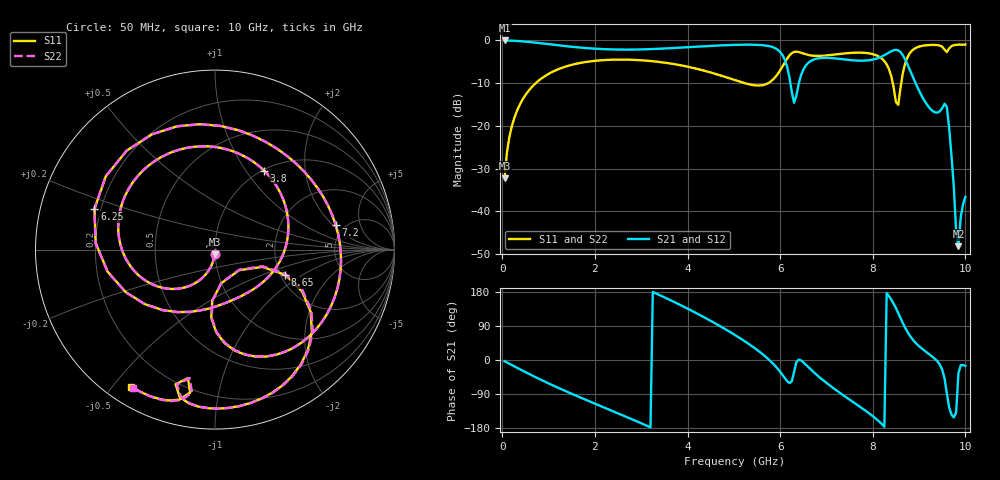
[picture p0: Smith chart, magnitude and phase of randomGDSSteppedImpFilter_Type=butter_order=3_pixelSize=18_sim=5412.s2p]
! freq	dB(S11)	phase(S11)	dB(S12)	phase(S12)
!  dB(S21)	phase(S21)	dB(S22)	phase(S22)
!S-par simulation data
#  GHz  S  DB  R 50
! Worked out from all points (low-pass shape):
!   200 points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, 50 MHz to 10 GHz, reference 50 ohm
!   highest |S21| = -0.01 dB at 50 MHz (marker M1); lowest = -48.2 dB at 9.85 GHz (marker M2)
!   |S21| within 3 dB of the highest: start of sweep to 6.022 GHz; 8.323 GHz to 8.618 GHz (295.5 MHz wide, 3.49 % of centre)
!   lowest |S11| = -32.2 dB at 50 MHz (marker M3), VSWR 1.05, Z = 49.8 - j2.43 ohm
!   |S11| at or under -10 dB: start of sweep to 723.1 MHz; 5.233 GHz to 5.741 GHz (507.8 MHz wide, 9.25 % of centre); 8.432 GHz to 8.615 GHz (183.2 MHz wide, 2.15 % of centre)
!   |S22| runs from -32.2 to -1.0 dB; largest |S21 - S12| = 0
!   S11 on the Smith chart (normalised r, x): 50 MHz: 1.00, -0.05; 3.8 GHz: 1.02, +1.22; 6.25 GHz: 0.17, +0.16; 7.2 GHz: 4.17, +2.19; 8.65 GHz: 2.12, -0.72; 10 GHz: 0.07, -0.56
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0.05  -32.24 -93.3  -0.01 -3.3  -0.01 -3.3  -32.24 -93.2
0.2  -20.35 -103.3  -0.06 -13.0  -0.06 -13.0  -20.35 -103.3
0.5  -12.78 -122.4  -0.28 -31.9  -0.28 -31.9  -12.78 -122.4
1.75  -5.14 167.1  -1.74 -102.3  -1.74 -102.3  -5.14 167.2
3.4  -5.05 81.1  -1.95 171.1  -1.95 171.1  -5.05 81.1
3.8  -5.71 58.1  -1.72 147.8  -1.72 147.8  -5.71 58.2
4.5  -7.50 14.3  -1.28 103.3  -1.28 103.3  -7.50 14.4
5.05  -9.39 -24.3  -1.03 64.0  -1.03 64.0  -9.39 -24.2
5.75  -9.95 -89.9  -1.31 1.8  -1.31 1.8  -9.95 -89.8
6.05  -6.11 -142.1  -3.41 -39.3  -3.41 -39.3  -6.10 -142.0
6.25  -2.99 161.4  -12.02 -56.5  -12.02 -56.5  -2.99 161.6
6.45  -2.87 106.9  -8.17 -1.1  -8.17 -1.1  -2.87 107.2
6.7  -3.57 64.6  -4.59 -29.5  -4.59 -29.5  -3.56 64.9
7.2  -3.27 11.7  -4.22 -78.8  -4.22 -78.8  -3.27 12.1
7.95  -3.09 -51.0  -4.58 -143.4  -4.58 -143.4  -3.08 -50.6
8.35  -6.73 -89.2  -2.83 168.5  -2.83 168.5  -6.73 -88.8
8.55  -15.07 -40.7  -2.32 124.0  -2.32 124.0  -15.13 -40.0
8.65  -7.61 -19.8  -3.47 97.3  -3.47 97.3  -7.62 -19.1
9.1  -1.20 -73.3  -13.82 26.2  -13.82 26.2  -1.20 -72.7
9.6  -2.71 -101.9  -15.62 -88.8  -15.62 -88.8  -2.74 -101.2
9.85  -0.99 -113.3  -48.15 -35.1  -48.15 -35.1  -0.99 -112.6
10  -0.96 -121.3  -36.61 -15.6  -36.61 -15.6  -0.96 -120.6
